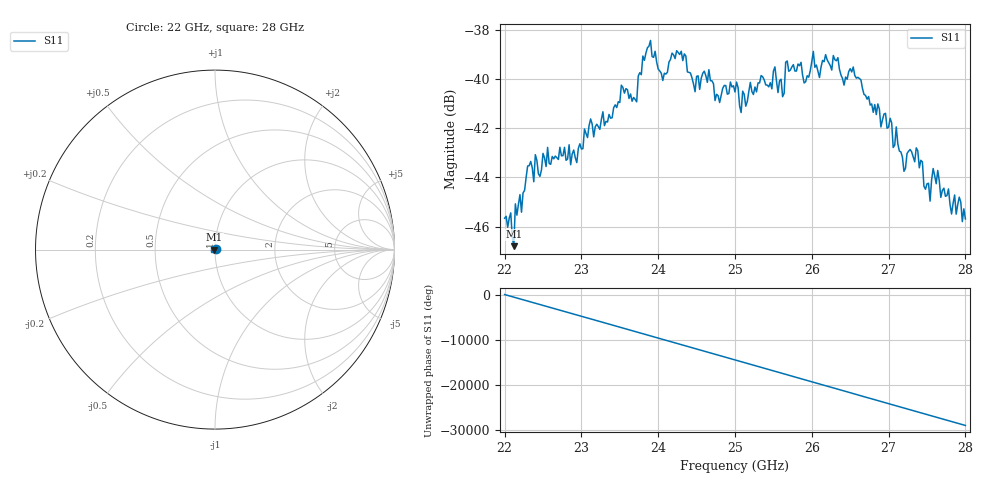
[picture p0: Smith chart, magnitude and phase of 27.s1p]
#  HZ  S  RI  R  50.00
! Rohde & Schwarz ZVA40 4Ports - Version 3.90 - 1145.1110k42 SN: 100403
! Date: 2023-10-04 08:39:17
! Measurement: S12
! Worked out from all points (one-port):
!   301 points, 22 GHz to 28 GHz, reference 50 ohm
!   lowest |S11| = -46.8 dB at 22.12 GHz (marker M1), VSWR 1.01, Z = 49.6 - j0.0945 ohm
!   |S11| at or under -10 dB: start of sweep to end of sweep
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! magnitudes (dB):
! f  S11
! 22 GHz  -45.7
! 22.08 GHz  -45.4
! 22.12 GHz  -46.8
! 22.14 GHz  -45.1
! 22.22 GHz  -45.4
! 22.3 GHz  -43.5
! 22.76 GHz  -43.1
! 23.5 GHz  -41.0
! 23.72 GHz  -40.9
! 23.9 GHz  -38.4
! 24.06 GHz  -40.1
! 24.26 GHz  -38.9
! 24.48 GHz  -40.5
! 25 GHz  -40.5
! 25.08 GHz  -41.4
! 25.52 GHz  -39.5
! 25.62 GHz  -40.7
! 25.66 GHz  -39.3
! 25.76 GHz  -39.4
! 26.5 GHz  -39.6
! 27.02 GHz  -41.6
! 27.06 GHz  -42.8
! 27.1 GHz  -41.9
! 27.2 GHz  -43.7
! 27.26 GHz  -42.9
! 27.54 GHz  -45.0
! 27.64 GHz  -43.7
! 28 GHz  -45.7
